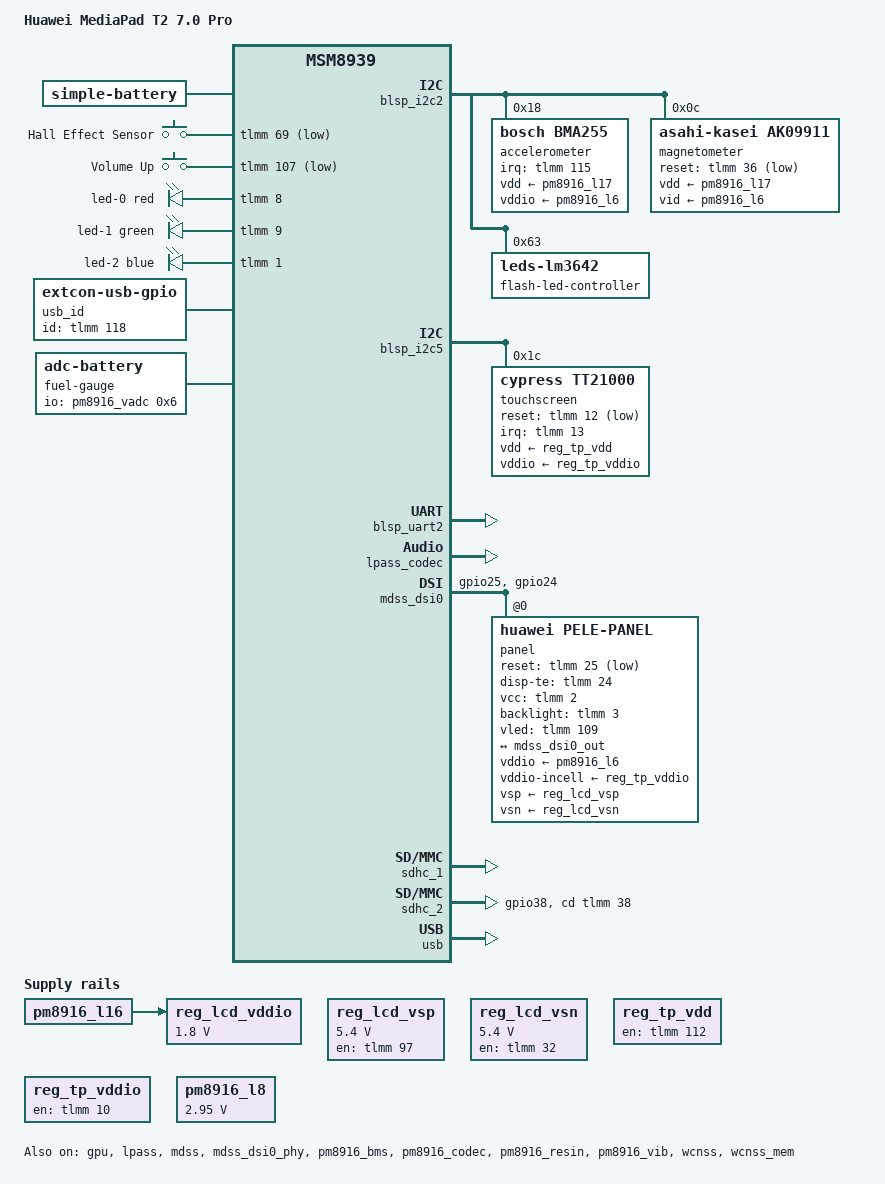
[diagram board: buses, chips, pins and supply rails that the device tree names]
// SPDX-License-Identifier: GPL-2.0-only

/dts-v1/;

#include "msm8939-pm8916.dtsi"
#include <dt-bindings/gpio/gpio.h>
#include <dt-bindings/leds/common.h>
#include <dt-bindings/sound/apq8016-lpass.h>
#include <dt-bindings/pinctrl/qcom,pmic-mpp.h>

/ {
	model = "Huawei MediaPad T2 7.0 Pro";
	compatible = "huawei,pele", "qcom,msm8939";
	chassis-type = "tablet";

	aliases {
		mmc0 = &sdhc_1; /* SDC1 eMMC slot */
		mmc1 = &sdhc_2; /* SDC2 SD card slot */
		serial0 = &blsp_uart2;
	};

	chosen {
		stdout-path = "serial0";
	};

	reserved-memory {
		cont_splash_mem: framebuffer@83000000 {
			compatible = "removed-dma-pool";
			reg = <0x0 0x83000000 0x0 0x1400000>;
			no-map;
		};

		reserved@84400000 {
			reg = <0x0 0x84400000 0x0 0x1C00000>;
			no-map;
		};

		tz-hwlog@8c700000 {
			reg = <0x0 0x8c700000 0x0 0x400000>;
			no-map;
		};

		ramoops@8cb00000 {
			compatible = "ramoops";
			reg = <0x0 0x8cb00000 0x0 0x200000>;

			record-size = <0x10000>;
			console-size = <0x100000>;
			ftrace-size = <0>;
		};
	};

	battery: battery {
		compatible = "simple-battery";
		device-chemistry = "lithium-ion-polymer";
		voltage-min-design-microvolt = <3300000>;
		voltage-max-design-microvolt = <4350000>;
		energy-full-design-microwatt-hours = <16074000>;
		charge-full-design-microamp-hours = <4230000>;

		//precharge-current-microamp = <1300000>;
		//charge-term-current-microamp = <150000>;

		ocv-capacity-celsius = <25>;
		ocv-capacity-table-0 = <4330000 100>, <4265000 95>,
			<4208000 90>, <4153000 85>, <4100000 80>, <4049000 75>,
			<4001000 70>, <3962000 65>, <3919000 60>, <3872000 55>,
			<3839000 50>, <3817000 45>, <3798000 40>, <3783000 35>,
			<3767000 30>, <3747000 25>, <3729000 20>, <3709000 16>,
			<3688000 13>, <3681000 11>, <3680000 10>, <3679000 9>,
			<3677000 8>, <3674000 7>, <3666000 6>, <3641000 5>,
			<3597000 4>, <3537000 3>, <3457000 2>, <3336000 1>,
			<3000000 0>;
	};

	gpio-hall-sensor {
		compatible = "gpio-keys";

		pinctrl-0 = <&gpio_hall_sensor_default>;
		pinctrl-names = "default";

		label = "GPIO Hall Effect Sensor";

		event-hall-sensor {
			label = "Hall Effect Sensor";
			gpios = <&tlmm 69 GPIO_ACTIVE_LOW>;
			linux,input-type = <EV_SW>;
			linux,code = <SW_LID>;
			linux,can-disable;
		};
	};

	gpio-keys {
		compatible = "gpio-keys";

		pinctrl-0 = <&gpio_keys_default>;
		pinctrl-names = "default";

		label = "GPIO Buttons";

		button-volume-up {
			label = "Volume Up";
			gpios = <&tlmm 107 GPIO_ACTIVE_LOW>;
			linux,code = <KEY_VOLUMEUP>;
		};
	};

	gpio-leds {
		compatible = "gpio-leds";

		pinctrl-0 = <&gpio_leds_default>;
		pinctrl-names = "default";

		led-0 {
			gpios = <&tlmm 8 GPIO_ACTIVE_HIGH>;
			color = <LED_COLOR_ID_RED>;
			default-state = "off";
			function = LED_FUNCTION_INDICATOR;
			retain-state-suspended;
		};

		led-1 {
			gpios = <&tlmm 9 GPIO_ACTIVE_HIGH>;
			color = <LED_COLOR_ID_GREEN>;
			default-state = "off";
			function = LED_FUNCTION_INDICATOR;
			retain-state-suspended;
		};

		led-2 {
			gpios = <&tlmm 1 GPIO_ACTIVE_HIGH>;
			color = <LED_COLOR_ID_BLUE>;
			default-state = "off";
			function = LED_FUNCTION_INDICATOR;
			retain-state-suspended;
		};
	};

	reg_lcd_vddio: regulator-lcd-vddio {
		compatible = "regulator-fixed";
		regulator-name = "vddio-incell";
		vin-supply = <&pm8916_l16>;
		regulator-min-microvolt = <1800000>;
		regulator-max-microvolt = <1800000>;
		regulator-always-on;
		regulator-boot-on;
	};

	reg_lcd_vsp: regulator-lcd-vsp {
		compatible = "regulator-fixed";
		regulator-name = "vsp";
		regulator-min-microvolt = <5400000>;
		regulator-max-microvolt = <5400000>;
		regulator-always-on;
		regulator-boot-on;

		gpio = <&tlmm 97 GPIO_ACTIVE_HIGH>;
		enable-active-high;
		pinctrl-names = "default";
		pinctrl-0 = <&lcd_vsp_default>;
	};

	reg_lcd_vsn: regulator-lcd-vsn {
		compatible = "regulator-fixed";
		regulator-name = "vsn";
		regulator-min-microvolt = <5400000>;
		regulator-max-microvolt = <5400000>;
		regulator-always-on;
		regulator-boot-on; 

		gpio = <&tlmm 32 GPIO_ACTIVE_HIGH>;
		enable-active-high;
		pinctrl-names = "default";
		pinctrl-0 = <&lcd_vsn_default>;
	};

	reg_tp_vdd: regulator-tp-vdd {
		compatible = "regulator-fixed";
		regulator-name = "tp_vdd";
		/*regulator-min-microvolt = <2850000>;
		regulator-max-microvolt = <2850000>;
		regulator-always-on;*/
		regulator-boot-on; 

		gpio = <&tlmm 112 GPIO_ACTIVE_HIGH>;
		enable-active-high;
		pinctrl-names = "default";
		pinctrl-0 = <&tp_vdd_default>;
	};

	reg_tp_vddio: regulator-tp-vddio {
		compatible = "regulator-fixed";
		regulator-name = "tp_vddio";
		/*vin-supply = <&pm8916_l16>;
		regulator-min-microvolt = <1800000>;
		regulator-max-microvolt = <1800000>;
		regulator-always-on;*/
		regulator-boot-on; 

		gpio = <&tlmm 10 GPIO_ACTIVE_HIGH>;
		enable-active-high;
		pinctrl-names = "default";
		pinctrl-0 = <&tp_vddio_default>;
	};

	usb_id: usb-id {
		compatible = "linux,extcon-usb-gpio";
		id-gpios = <&tlmm 118 GPIO_ACTIVE_HIGH>;
		pinctrl-0 = <&usb_id_default>;
		pinctrl-names = "default";
	};
};

&blsp_i2c2 {
	status = "okay";

	accelerometer@18 {
		compatible = "bosch,bma255";
		reg = <0x18>;

		interrupt-parent = <&tlmm>;
		interrupts = <115 IRQ_TYPE_EDGE_RISING>;

		vdd-supply = <&pm8916_l17>;
		vddio-supply = <&pm8916_l6>;

		mount-matrix = "0", "1", "0",
			       "1", "0", "0",
			       "0", "0", "1";

		pinctrl-0 = <&accel_int_default>;
		pinctrl-names = "default";
	};

	magnetometer@c {
		compatible = "asahi-kasei,ak09911";
		reg = <0x0c>;
		vdd-supply = <&pm8916_l17>;
		vid-supply = <&pm8916_l6>;
		reset-gpios = <&tlmm 36 GPIO_ACTIVE_LOW>;
		pinctrl-0 = <&mag_reset_default>;
		pinctrl-names = "default";
	};

	flash-led-controller@63 {
		compatible = "leds-lm3642";
		reg = <0x63>;

		pinctrl-0 = <&camera_rear_flash_default>;
		pinctrl-1 = <&camera_rear_flash_sleep>;
		pinctrl-names = "default","sleep";

		//gpios = <&tlmm 86 GPIO_ACTIVE_HIGH>,<&tlmm 31 GPIO_ACTIVE_HIGH >;

		flash_led {
			linux,default-trigger = "flash";
			function = LED_FUNCTION_FLASH;
			color = <LED_COLOR_ID_WHITE>;
			gpios = <&tlmm 86 GPIO_ACTIVE_HIGH>;
			led-sources = <0>, <1>;
		};
		torch_led {
			linux,default-trigger = "torch";
			function = LED_FUNCTION_TORCH;
			color = <LED_COLOR_ID_WHITE>;
			gpios = <&tlmm 31 GPIO_ACTIVE_HIGH >;
			led-sources = <0>, <0>;
		};
	};
};
/*
&blsp_i2c4 {
	status = "okay";

	charger: bq24296@6b {
		compatible = "ti,bq24296";
		reg = <0x6b>;
		interrupt-parent = <&tlmm>;
		interrupts = <62 IRQ_TYPE_EDGE_FALLING>;
		charge-enable-gpios = <&tlmm 108 GPIO_ACTIVE_LOW>;
		pinctrl-names = "default", "sleep";
		pinctrl-0 = <&bq24192_charger_default &bq24192_ce_default>;
		pinctrl-1 = <&bq24192_charger_sleep>;
		monitored-battery = <&battery>;
		ti,system-minimum-microvolt = <3350000>;
		omit-battery-class;
		usb_otg_vbus: usb-otg-vbus {};
		//usb_otg_vbus: usb-otg-vbus {
		//	regulator-min-microvolt = <4900000>;
		//	regulator-max-microvolt = <5000000>;
		//};
	};
};*/

&blsp_i2c5 {
	status = "okay";

	touchscreen@1c {
		compatible = "cypress,tt21000";

		reg = <0x1c>;
		interrupt-parent = <&tlmm>;
		interrupts = <13 IRQ_TYPE_EDGE_FALLING>;

		reset-gpios = <&tlmm 12 GPIO_ACTIVE_LOW>;

		/*
		 * NOTE: vdd and vddio should be gpios use them as
		 * fixed regulator. It works for now.
		 */
		vdd-supply = <&reg_tp_vdd>;
		vddio-supply = <&reg_tp_vddio>;

		pinctrl-0 = <&touchscreen_default>;
		pinctrl-names = "default";
	};
};

&blsp_uart2 {
	status = "okay";
};

&gpu {
	status = "okay";
};

&lpass {
	status = "okay";
};

&lpass_codec {
	status = "okay";
};

&mdss {
	status = "okay";
};

&mdss_dsi0 {
	pinctrl-0 = <&mdss_default &mdss_te_default>;
	pinctrl-1 = <&mdss_sleep &mdss_te_sleep>;
	pinctrl-names = "default", "sleep";
	status = "okay";

	panel@0 {
		compatible = "huawei,pele-panel";
		reg = <0>;

		reset-gpios = <&tlmm 25 GPIO_ACTIVE_LOW>;
		disp-te-gpios = <&tlmm 24 GPIO_ACTIVE_HIGH>;

		vddio-supply = <&pm8916_l6>;
		vddio-incell-supply = <&reg_tp_vddio>;
		vsp-supply = <&reg_lcd_vsp>;
		vsn-supply = <&reg_lcd_vsn>;
		vcc-gpios = <&tlmm 2 GPIO_ACTIVE_HIGH>;
		backlight-gpios = <&tlmm 3 GPIO_ACTIVE_HIGH>;
		vled-gpios = <&tlmm 109 GPIO_ACTIVE_HIGH>;

		port {
			panel_in: endpoint {
				remote-endpoint = <&mdss_dsi0_out>;
			};
		};
	};
};

&mdss_dsi0_out {
	data-lanes = <0 1 2 3>;
	remote-endpoint = <&panel_in>;
};

&mdss_dsi0_phy {
	qcom,dsi-phy-regulator-ldo-mode;
	status = "okay";
};

&pm8916_bms {
	status = "okay";

	monitored-battery = <&battery>;
};

&pm8916_codec {
	qcom,micbias-lvl = <2800>;
	qcom,mbhc-vthreshold-low = <75 150 237 450 500>;
	qcom,mbhc-vthreshold-high = <75 150 237 450 500>;
	qcom,hphl-jack-type-normally-open;
	status = "okay";
};

&pm8916_mpps {
	pinctrl-names = "default";
	pinctrl-0 = <&pm8916_mpp2_in &pm8916_mpp4_in>;

	pm8916_mpp2_in: pm8916-mpp2-in-state {
		pinconf {
			pins = "mpp2";
			function = "analog"; //input
			qcom,amux-route = <1>; //PMIC_MPP_AMUX_ROUTE_CH6
		};
	};

	pm8916_mpp4_in: pm8916-mpp4-in-state {
		pinconf {
			pins = "mpp4";
			function = "analog"; //input
			qcom,amux-route = <3>; //PMIC_MPP_AMUX_ROUTE_CH8
		};
	};
};

&pm8916_l8 {
	regulator-min-microvolt = <2950000>;
	regulator-max-microvolt = <2950000>;
};

&pm8916_resin {
	linux,code = <KEY_VOLUMEDOWN>;
	status = "okay";
};

&pm8916_rpm_regulators {
	pm8916_l16: l16 {
		regulator-min-microvolt = <1800000>;
		regulator-max-microvolt = <1800000>;
	};

	pm8916_l17: l17 {
		regulator-min-microvolt = <2850000>;
		regulator-max-microvolt = <2850000>;
	};
};

&pm8916_vadc {
	channel@6 {
		reg = <VADC_VBAT_SNS>;
		//reg = <0x6>;
		//reg = <VADC_VBAT_SNS>;
		qcom,pre-scaling = <1 3>;
		label = "vbat_sns";
	};

	channel@11 {
		reg = <VADC_P_MUX2_1_1>;
		//qcom,decimation = <512>;
		qcom,pre-scaling = <1 1>;
		//qcom,ratiometric;
		qcom,hw-settle-time = <200>;
		label = "mpp2_div1";
	};

	channel@13 {
		reg = <VADC_P_MUX4_1_1>;
		//qcom,decimation = <512>;
		qcom,pre-scaling = <1 1>;
		qcom,hw-settle-time = <200>;
		label = "mpp4_div1";
	};

	channel@31 {
		//reg = <0x31>;
		reg = <VADC_LR_MUX2_BAT_ID>;
		qcom,pre-scaling = <1 1>;
		qcom,ratiometric;
		qcom,hw-settle-time = <200>;
		label = "batt_id";
	};

	channel@36 {
		reg = <VADC_LR_MUX7_HW_ID>;
		//reg = <0x36>;
		qcom,pre-scaling = <1 1>;
		qcom,ratiometric;
		qcom,hw-settle-time = <200>;
		label = "pa_therm0";
	};
};

&pm8916_vib {
	status = "okay";
};

&sdhc_1 {
	status = "okay";
};

&sdhc_2 {
	pinctrl-0 = <&sdc2_default &sdc2_cd_default>;
	pinctrl-1 = <&sdc2_sleep &sdc2_cd_default>;
	pinctrl-names = "default", "sleep";

	cd-gpios = <&tlmm 38 GPIO_ACTIVE_HIGH>;

	status = "okay";
};

&sound {
	model = "msm8916";
	audio-routing =
		"AMIC1", "MIC BIAS Internal1",
		"AMIC2", "MIC BIAS Internal2",
		"AMIC3", "MIC BIAS Internal3";

	pinctrl-0 = <&cdc_pdm_default>;
	pinctrl-1 = <&cdc_pdm_sleep>;
	pinctrl-names = "default", "sleep";

	status = "okay";

	dai-link-primary {
		link-name = "Primary MI2S";

		cpu {
			sound-dai = <&lpass MI2S_PRIMARY>;
		};

		codec {
			sound-dai = <&lpass_codec 0>, <&pm8916_codec 0>;
		};
	};

	dai-link-tertiary {
		link-name = "Tertiary MI2S";

		cpu {
			sound-dai = <&lpass MI2S_TERTIARY>;
		};

		codec {
			sound-dai = <&lpass_codec 1>, <&pm8916_codec 1>;
		};
	};
};

&usb {
	extcon = <&usb_id>, <&usb_id>;
	status = "okay";
};

&usb_hs_phy {
	extcon = <&usb_id>;
};

&wcnss {
	status = "okay";
};

&wcnss_iris {
	compatible = "qcom,wcn3620";
};

&wcnss_mem {
	status = "okay";
};

&tlmm {
	accel_int_default: accel-int-default-state {
		pins = "gpio115";
		function = "gpio";
		drive-strength = <2>;
		bias-disable;
	};

	camera_rear_flash_default: camera-rear-flash-default-state {
		pins = "gpio31", "gpio86";
		function = "gpio";
		drive-strength = <2>;
		bias-disable;
	};

	camera_rear_flash_sleep: camera-rear-flash-sleep-state {
		pins = "gpio31", "gpio86";
		function = "gpio";
		drive-strength = <2>;
		bias-pull-down;
	};

	gpio_hall_sensor_default: gpio-hall-sensor-default-state {
		pins = "gpio69";
		function = "gpio";
		drive-strength = <2>;
		bias-disable;
	};

	gpio_keys_default: gpio-keys-default-state {
		pins = "gpio107";
		function = "gpio";
		drive-strength = <2>;
		bias-pull-up;
	};

	gpio_leds_default: gpio-leds-default-state {
		pins = "gpio8", "gpio9", "gpio1";
		function = "gpio";
		drive-strength = <2>;
		bias-disable;
	};

	lcd_vsp_default: lcd-vsp-default-state {
		pins = "gpio97";
		function = "gpio";
		drive-strength = <2>;
		bias-disable;
	};

	lcd_vsn_default: lcd-vsn-default-state {
		pins = "gpio32";
		function = "gpio";
		drive-strength = <2>;
		bias-disable;
	};

	mag_reset_default: mag-reset-default-state {
		pins = "gpio36";
		function = "gpio";
		drive-strength = <2>;
		bias-disable;
	};

	mdss_default: mdss-default-state {
		pins = "gpio25";
		function = "gpio";
		drive-strength = <8>;
		bias-disable;
	};

	mdss_sleep: mdss-sleep-state {
		pins = "gpio25";
		function = "gpio";
		drive-strength = <2>;
		bias-pull-down;
	};

	mdss_te_default: mdss-te-default-state {
		pins = "gpio24";
		//function = "gpio";
		function = "mdp_vsync";
		drive-strength = <2>;
		bias-pull-disable;
	};

	mdss_te_sleep: mdss-te-sleep-state {
		pins = "gpio24";
		//function = "gpio";
		function = "mdp_vsync";
		drive-strength = <2>;
		bias-pull-down;
	};

	prox_irq_default: prox-irq-default-state {
		pins = "gpio113";
		function = "gpio";
		drive-strength = <2>;
		bias-disable;
	};

	reg_lcd_en_default: reg-lcd-en-default-state {
		pins = "gpio32", "gpio97";
		function = "gpio";
		drive-strength = <2>;
		bias-disable;
	};

	sdc2_cd_default: sdc2-cd-default-state {
		pins = "gpio38";
		function = "gpio";
		drive-strength = <2>;
		bias-disable;
	};

	touchscreen_default: touchscreen-default-state {
		pins = "gpio12", "gpio13";
		function = "gpio";
		drive-strength = <2>;
		bias-disable;
	};

	tp_vdd_default: reg-tp-vdd-default-state {
		pins = "gpio112";
		function = "gpio";
		drive-strength = <2>;
		bias-pull-up;
	};

	tp_vddio_default: reg-tp-vddio-default-state {
		pins = "gpio10";
		function = "gpio";
		drive-strength = <2>;
		bias-pull-up;
	};

	usb_id_default: usb-id-default-state {
		pins = "gpio118";
		function = "gpio";
		drive-strength = <8>;
		bias-pull-up;
	};
};

/ {
	fuel-gauge {
	compatible = "adc-battery";
	// #address-cells = <1>;
	//#size-cells = <0>;

		io-channels = <&pm8916_vadc 0x6>;//, <&pm8916_vadc 0x30>;//, <&pm8916_vadc 0x11>;
		io-channel-names = "voltage";//, "temperature";//, "current";

		//charged-gpios = <&tlmm 62>;
		monitored-battery = <&battery>;
		//power-supplies = <&charger>;
	};
};
